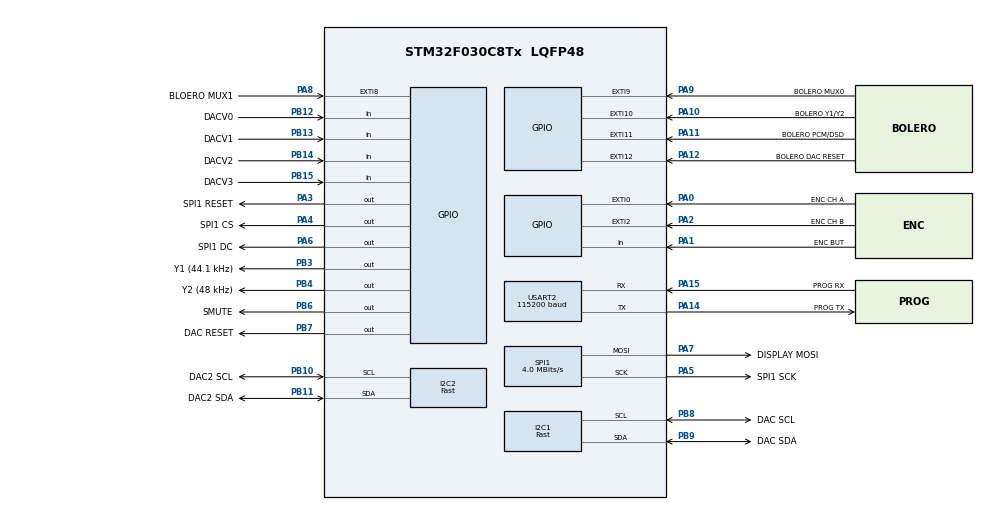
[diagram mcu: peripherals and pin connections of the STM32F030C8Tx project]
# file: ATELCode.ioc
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I2C1.I2C_Speed_Mode=I2C_Fast
I2C1.Timing=0x0000020B
I2C2.I2C_Speed_Mode=I2C_Fast
I2C2.Timing=0x0000020B
Mcu.Family=STM32F0
Mcu.Name=STM32F030C8Tx
Mcu.Package=LQFP48
NVIC.EXTI0_1_IRQn=true\:0\:0\:false\:false\:true\:true\:true
NVIC.EXTI2_3_IRQn=true\:0\:0\:false\:false\:true\:true\:true
NVIC.EXTI4_15_IRQn=true\:0\:0\:false\:false\:true\:true\:true
PA0.GPIO_Label=ENC CH A
PA0.Signal=GPXTI0
PA1.GPIO_Label=ENC BUT
PA1.GPIO_PuPd=GPIO_PULLDOWN
PA1.Signal=GPIO_Input
PA10.GPIO_Label=BOLERO Y1/Y2
PA10.GPIO_ModeDefaultEXTI=GPIO_MODE_IT_RISING_FALLING
PA10.GPIO_PuPd=GPIO_PULLDOWN
PA10.Signal=GPXTI10
PA11.GPIO_Label=BOLERO PCM/DSD
PA11.GPIO_ModeDefaultEXTI=GPIO_MODE_IT_RISING_FALLING
PA11.GPIO_PuPd=GPIO_PULLDOWN
PA11.Signal=GPXTI11
PA12.GPIO_Label=BOLERO DAC RESET
PA12.GPIO_ModeDefaultEXTI=GPIO_MODE_IT_RISING_FALLING
PA12.GPIO_PuPd=GPIO_PULLDOWN
PA12.Signal=GPXTI12
PA14.GPIO_Label=PROG TX
PA14.Mode=Asynchronous
PA14.Signal=USART2_TX
PA15.GPIO_Label=PROG RX
PA15.Mode=Asynchronous
PA15.Signal=USART2_RX
PA2.GPIO_Label=ENC CH B
PA2.Signal=GPXTI2
PA3.GPIO_Label=SPI1 RESET
PA3.GPIO_Speed=GPIO_SPEED_FREQ_HIGH
PA3.Signal=GPIO_Output
PA4.GPIO_Label=SPI1 CS
PA4.GPIO_Speed=GPIO_SPEED_FREQ_HIGH
PA4.Signal=GPIO_Output
PA5.GPIO_Label=SPI1 SCK
PA5.Mode=TX_Only_Simplex_Unidirect_Master
PA5.Signal=SPI1_SCK
PA6.GPIO_Label=SPI1 DC
PA6.GPIO_Speed=GPIO_SPEED_FREQ_HIGH
PA6.Signal=GPIO_Output
PA7.GPIO_Label=DISPLAY MOSI
PA7.Mode=TX_Only_Simplex_Unidirect_Master
PA7.Signal=SPI1_MOSI
PA8.GPIO_Label=BLOERO MUX1
PA8.GPIO_ModeDefaultEXTI=GPIO_MODE_IT_RISING_FALLING
PA8.GPIO_PuPd=GPIO_PULLDOWN
PA8.Signal=GPXTI8
PA9.GPIO_Label=BOLERO MUX0
PA9.GPIO_ModeDefaultEXTI=GPIO_MODE_IT_RISING_FALLING
PA9.GPIO_PuPd=GPIO_PULLDOWN
PA9.Signal=GPXTI9
PB10.GPIO_Label=DAC2 SCL
PB10.Mode=I2C
PB10.Signal=I2C2_SCL
PB11.GPIO_Label=DAC2 SDA
PB11.Mode=I2C
PB11.Signal=I2C2_SDA
PB12.GPIO_Label=DACV0
PB12.GPIO_PuPd=GPIO_PULLDOWN
PB12.Signal=GPIO_Input
PB13.GPIO_Label=DACV1
PB13.GPIO_PuPd=GPIO_PULLDOWN
PB13.Signal=GPIO_Input
PB14.GPIO_Label=DACV2
PB14.GPIO_PuPd=GPIO_PULLDOWN
PB14.Signal=GPIO_Input
PB15.GPIO_Label=DACV3
PB15.GPIO_PuPd=GPIO_PULLDOWN
PB15.Signal=GPIO_Input
PB3.GPIO_Label=Y1 (44.1 kHz)
PB3.GPIO_PuPd=GPIO_NOPULL
PB3.PinState=GPIO_PIN_SET
PB3.Signal=GPIO_Output
PB4.GPIO_Label=Y2 (48 kHz)
PB4.GPIO_PuPd=GPIO_NOPULL
PB4.PinState=GPIO_PIN_SET
PB4.Signal=GPIO_Output
PB6.GPIO_Label=SMUTE
PB6.GPIO_PuPd=GPIO_NOPULL
PB6.Signal=GPIO_Output
PB7.GPIO_Label=DAC RESET
PB7.GPIO_PuPd=GPIO_NOPULL
PB7.PinState=GPIO_PIN_RESET
PB7.Signal=GPIO_Output
PB8.GPIO_Label=DAC SCL
PB8.Mode=I2C
PB8.Signal=I2C1_SCL
PB9.GPIO_Label=DAC SDA
PB9.Mode=I2C
PB9.Signal=I2C1_SDA
ProjectManager.HeapSize=0x200
ProjectManager.StackSize=0x400
ProjectManager.TargetToolchain=STM32CubeIDE
SPI1.CLKPhase=SPI_PHASE_2EDGE
SPI1.CLKPolarity=SPI_POLARITY_HIGH
SPI1.CalculateBaudRate=4.0 MBits/s
SPI1.Direction=SPI_DIRECTION_2LINES
SPI1.Mode=SPI_MODE_MASTER
SPI1.VirtualType=VM_MASTER
USART2.BaudRate=115200
USART2.VirtualMode-Asynchronous=VM_ASYNC
board=custom

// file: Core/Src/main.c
/* USER CODE BEGIN Header */
/**
 ******************************************************************************
 * @file           : main.c
 * @brief          : Main program body
 ******************************************************************************
 * @attention
 *
 * <h2><center>&copy; Copyright (c) 2021 STMicroelectronics.
 * All rights reserved.</center></h2>
 *
 * This software component is licensed by ST under BSD 3-Clause license,
 * the "License"; You may not use this file except in compliance with the
 * License. You may obtain a copy of the License at:
 *                        opensource.org/licenses/BSD-3-Clause
 *
 ******************************************************************************
 */
/* USER CODE END Header */
#include "main.h"

/* USER CODE BEGIN PD */

#define AK4403EQ_FIRS_NUM 6

/* USER CODE END PD */

I2C_HandleTypeDef hi2c1;
I2C_HandleTypeDef hi2c2;

SPI_HandleTypeDef hspi1;

UART_HandleTypeDef huart2;

/* USER CODE BEGIN PV */

uint8_t volume;
uint32_t progtime;
uint8_t ak4493eq_fir;
uint8_t dsd1794a_fir;
uint8_t bd34301ekv_fir;
uint8_t cs43198_fir;
uint8_t ak4191eq_fir;

uint8_t tx_buf[256 * 64 / 2];

const char AK4493EQ_FIRS_NAMES[6][16]   = {"Sharp", "Slow", "SD Sharp", "SD Slow", "Super Slow", "Low Dispersion"};
const char DSD1794A_FIRS_NAMES[2][16]   = {"Sharp", "Slow"};
const char BD34301EKV_FIRS_NAMES[2][16] = {"Sharp", "Slow"};
const char CS43198_FIRS_NAMES[5][16]	= {"Sharp LowLatency", "Sharp Phase Comp", "Slow LowLatency", "Slow Phase Comp", "NOS"};

/* USER CODE END PV */

void SystemClock_Config(void);
static void MX_GPIO_Init(void);
static void MX_I2C1_Init(void);
static void MX_I2C2_Init(void);
static void MX_SPI1_Init(void);
static void MX_USART2_UART_Init(void);
/* USER CODE BEGIN PFP */
void Set_Clock(uint8_t clock);
/* USER CODE END PFP */

int main(void)
{
  /* USER CODE BEGIN 1 */
	volume = 0;
  /* USER CODE END 1 */

  /* MCU Configuration--------------------------------------------------------*/

  /* Reset of all peripherals, Initializes the Flash interface and the Systick. */
  HAL_Init();

  /* USER CODE BEGIN Init */

	SSD1322_API_init();
	set_buffer_size(256, 64);
	fill_buffer(tx_buf, 0);
	select_font(&FreeMono12pt7b);
	draw_text(tx_buf, "VOLUME:", 64, 38, 15);
	send_buffer_to_OLED(tx_buf, 0, 0);
	HAL_Delay(2000);

  /* USER CODE END Init */

  /* Configure the system clock */
  SystemClock_Config();

  /* Initialize all configured peripherals */
  MX_GPIO_Init();
  MX_I2C1_Init();
  MX_I2C2_Init();
  MX_SPI1_Init();
  MX_USART2_UART_Init();
  /* USER CODE BEGIN 2 */

	progtime = HAL_GetTick();
	Set_Clock(HAL_GPIO_ReadPin(GPIOA, GPIO_PIN_10));

	SystemClock_Config();

	uint8_t dacv = (HAL_GPIO_ReadPin(GPIOB, GPIO_PIN_12)) | (HAL_GPIO_ReadPin(GPIOB, GPIO_PIN_13) << 1) | (HAL_GPIO_ReadPin(GPIOB, GPIO_PIN_14) << 2) | (HAL_GPIO_ReadPin(GPIOB, GPIO_PIN_15) << 3);
	uint8_t frame[2], size = 2;
	uint8_t pcm_dsd = HAL_GPIO_ReadPin(GPIOA, GPIO_PIN_11);

	uint8_t boleroSampleSpeed = (HAL_GPIO_ReadPin(GPIOA, GPIO_PIN_9)) | (HAL_GPIO_ReadPin(GPIOA, GPIO_PIN_8) << 1);
	uint8_t dfs;

	if (pcm_dsd)
	{
		select_font(&FreeMono12pt7b);

		switch (boleroSampleSpeed)
		{
		case SS_48:
			dfs = 0x0;

			if (HAL_GPIO_ReadPin(GPIOA, GPIO_PIN_10) == C_44_1)
				draw_text(tx_buf, "PCM  44.1KHz", 64, 32, 15);
			else
				draw_text(tx_buf, "PCM    48KHz", 64, 20, 15);
			send_buffer_to_OLED(tx_buf, 0, 0);
			HAL_Delay(2000);

			break;
		case SS_96:
			dfs = 0x1;

			if (HAL_GPIO_ReadPin(GPIOA, GPIO_PIN_10) == C_44_1)
				draw_text(tx_buf, "PCM  88.2KHz", 64, 32, 15);
			else
				draw_text(tx_buf, "PCM    96KHz", 64, 20, 15);
			send_buffer_to_OLED(tx_buf, 0, 0);
			HAL_Delay(2000);

			break;
		case SS_192:
			dfs = 0x2;

			if (HAL_GPIO_ReadPin(GPIOA, GPIO_PIN_10) == C_44_1)
				draw_text(tx_buf, "PCM 176.4KHz", 64, 32, 15);
			else
				draw_text(tx_buf, "PCM   192KHz", 64, 20, 15);
			send_buffer_to_OLED(tx_buf, 0, 0);
			HAL_Delay(2000);

			break;
		case SS_384:
			dfs = 0x4;

			if (HAL_GPIO_ReadPin(GPIOA, GPIO_PIN_10) == C_44_1)
				draw_text(tx_buf, "PCM 352.8KHz", 64, 32, 15);
			else
				draw_text(tx_buf, "PCM   384KHz", 64, 20, 15);
			send_buffer_to_OLED(tx_buf, 0, 0);
			HAL_Delay(2000);

			break;
		}
	}
	else
	{
		dfs = boleroSampleSpeed;

		select_font(&FreeMono12pt7b);
		switch(boleroSampleSpeed)
		{
		case DSD_64:
			draw_text(tx_buf, "DSD 64", 64, 32, 15);
			break;
		case DSD_128:
			draw_text(tx_buf, "DSD 128", 64, 32, 15);
			break;
		case DSD_256:
			draw_text(tx_buf, "DSD 256", 64, 32, 15);
			break;
		case DSD_512:
			draw_text(tx_buf, "DSD 512", 64, 32, 15);
			break;
		}
		send_buffer_to_OLED(tx_buf, 0, 0);
		HAL_Delay(2000);
	}

	switch (dacv)
	{
	case AK4493EQ:  	// addrs: 0x10, 0x11
	select_font(&FreeSansOblique9pt7b);
	draw_text(tx_buf, "AK4493EQ", 9, 5, 15);
	send_buffer_to_OLED(tx_buf, 0, 0);
	HAL_Delay(2000);

	// Control 1 Reg: Reset
	frame[0] = 0x0; frame[1] = 0xE;
	HAL_I2C_Master_Transmit(&hi2c1, 0x10, frame, size, I2C_TIMEOUT);
	HAL_I2C_Master_Transmit(&hi2c2, 0x10, frame, size, I2C_TIMEOUT);

	// Control 2 Reg
	frame[0] = 0x1; frame[1] = 0x3 | ((dfs & 0x3) << 3);
	HAL_I2C_Master_Transmit(&hi2c1, 0x10, frame, size, I2C_TIMEOUT);
	HAL_I2C_Master_Transmit(&hi2c2, 0x10, frame, size, I2C_TIMEOUT);

	// Control 3 Reg
	frame[0] = 0x2; frame[1] = 0x9 | ((!pcm_dsd) << 7);
	HAL_I2C_Master_Transmit(&hi2c1, 0x10, frame, size, I2C_TIMEOUT);
	frame[1] = 0xB | ((!pcm_dsd) << 7);
	HAL_I2C_Master_Transmit(&hi2c2, 0x10, frame, size, I2C_TIMEOUT);

	// Control 4 Reg
	frame[0] = 0x5; frame[1] = ((dfs & 0x4) >> 1);
	HAL_I2C_Master_Transmit(&hi2c1, 0x10, frame, size, I2C_TIMEOUT);
	HAL_I2C_Master_Transmit(&hi2c2, 0x10, frame, size, I2C_TIMEOUT);

	// DSD1 Reg
	frame[0] = 0x6; frame[1] = 0x2 | (dfs & 0x1);
	HAL_I2C_Master_Transmit(&hi2c1, 0x10, frame, size, I2C_TIMEOUT);
	HAL_I2C_Master_Transmit(&hi2c2, 0x10, frame, size, I2C_TIMEOUT);

	// DSD2 Reg
	frame[0] = 0x9; frame[1] = dfs >> 1;
	HAL_I2C_Master_Transmit(&hi2c1, 0x10, frame, size, I2C_TIMEOUT);
	HAL_I2C_Master_Transmit(&hi2c2, 0x10, frame, size, I2C_TIMEOUT);

	// Control 2 Reg
	frame[0] = 0x1; frame[1] = 0x2 | ((dfs & 0x3) << 3);
	HAL_I2C_Master_Transmit(&hi2c1, 0x10, frame, size, I2C_TIMEOUT);
	HAL_I2C_Master_Transmit(&hi2c2, 0x10, frame, size, I2C_TIMEOUT);

	// Control 1 Reg: Release Reset
	frame[0] = 0x0; frame[1] = 0xF;
	HAL_I2C_Master_Transmit(&hi2c1, 0x10, frame, size, I2C_TIMEOUT);
	HAL_I2C_Master_Transmit(&hi2c2, 0x10, frame, size, I2C_TIMEOUT);

	break;
	case DSD1794A:  	// addrs: 0x4C, 0x4D
		select_font(&FreeSansOblique9pt7b);
		draw_text(tx_buf, "DSD1794A", 9, 5, 15);
		send_buffer_to_OLED(tx_buf, 0, 0);
		HAL_Delay(2000);

		// Set MUTE
		frame[0] = 0x18; frame[1] = 0x51;
		HAL_I2C_Master_Transmit(&hi2c1, 0x4C, frame, size, I2C_TIMEOUT);
		HAL_I2C_Master_Transmit(&hi2c2, 0x4C, frame, size, I2C_TIMEOUT);

		// OFF the DACs
		frame[0] = 0x19; frame[1] = 0x12;
		HAL_I2C_Master_Transmit(&hi2c1, 0x4C, frame, size, I2C_TIMEOUT);
		HAL_I2C_Master_Transmit(&hi2c2, 0x4C, frame, size, I2C_TIMEOUT);

		// Setting DUAL MONO, setting
		if (!dfs)
			dfs = 0x2;
		else
			if (dfs == 1)
				dfs = 0x0;
			else
				dfs = 0x1;
		frame[0] = 0x20; frame[1] = 0x8 | (!pcm_dsd << 5) | dfs;
		HAL_I2C_Master_Transmit(&hi2c1, 0x4C, frame, size, I2C_TIMEOUT);
		frame[1] = 0xC | (!pcm_dsd << 5) | dfs;
		HAL_I2C_Master_Transmit(&hi2c2, 0x4C, frame, size, I2C_TIMEOUT);

		// ON the DACs
		frame[0] = 0x19; frame[1] = 0x2;
		HAL_I2C_Master_Transmit(&hi2c1, 0x4C, frame, size, I2C_TIMEOUT);
		HAL_I2C_Master_Transmit(&hi2c2, 0x4C, frame, size, I2C_TIMEOUT);

		// Release MUTE
		frame[0] = 0x18; frame[1] = 0x50;
		HAL_I2C_Master_Transmit(&hi2c1, 0x4C, frame, size, I2C_TIMEOUT);
		HAL_I2C_Master_Transmit(&hi2c2, 0x4C, frame, size, I2C_TIMEOUT);

		break;
	case BD34301EKV:  // addrs: 0x38, 0x3A
		select_font(&FreeSansOblique9pt7b);
		draw_text(tx_buf, "BD34301EKV", 9, 5, 15);
		send_buffer_to_OLED(tx_buf, 0, 0);
		HAL_Delay(2000);

		// DSD ON/OFF
		frame[0] = 0x10; frame[1] = 0xB | (!pcm_dsd << 7);
		HAL_I2C_Master_Transmit(&hi2c1, 0x38, frame, size, I2C_TIMEOUT);
		HAL_I2C_Master_Transmit(&hi2c2, 0x38, frame, size, I2C_TIMEOUT);

		// DUAL MONO enabling
		frame[0] = 0x12; frame[1] = 0x2;
		HAL_I2C_Master_Transmit(&hi2c1, 0x38, frame, size, I2C_TIMEOUT);
		frame[1] = 0x3;
		HAL_I2C_Master_Transmit(&hi2c2, 0x38, frame, size, I2C_TIMEOUT);

		// DSD filter selecting
		if (!dfs)
			frame[1] = 0x2;
		else if (dfs == 1)
			frame[1] = 0x1;
		else
			frame[1] = 0x0;
		frame[0] = 0x16;
		HAL_I2C_Master_Transmit(&hi2c1, 0x38, frame, size, I2C_TIMEOUT);
		HAL_I2C_Master_Transmit(&hi2c2, 0x38, frame, size, I2C_TIMEOUT);

		// Sample Rate configuring
		dfs <<= 1;
		frame[0] = 0x30; frame[1] = 0x8;
		HAL_I2C_Master_Transmit(&hi2c1, 0x38, frame, size, I2C_TIMEOUT);
		HAL_I2C_Master_Transmit(&hi2c2, 0x38, frame, size, I2C_TIMEOUT);
		dfs >>= 1;

		switch (boleroSampleSpeed)
		{
		case SS_48:
			frame[1] = 0x3;
			break;
		case SS_96:
			frame[1] = 0x4;
			break;
		case SS_192:
			frame[1] = 0x5;
			break;
		case SS_384:
			frame[1] = 0x0;
			break;
		}
		frame[0] = 0x31;
		HAL_I2C_Master_Transmit(&hi2c1, 0x38, frame, size, I2C_TIMEOUT);
		HAL_I2C_Master_Transmit(&hi2c2, 0x38, frame, size, I2C_TIMEOUT);

		if (pcm_dsd)
			frame[1] = HAL_GPIO_ReadPin(GPIOA, GPIO_PIN_10) ? 0x11 : 0x10;
		else
			frame[1] = 0x2;
		frame[0] = 0x40;
		HAL_I2C_Master_Transmit(&hi2c1, 0x38, frame, size, I2C_TIMEOUT);
		HAL_I2C_Master_Transmit(&hi2c2, 0x38, frame, size, I2C_TIMEOUT);

		// Power ON Sequence
		frame[0] = 0x41; frame[1] = 0x0;
		HAL_I2C_Master_Transmit(&hi2c1, 0x38, frame, size, I2C_TIMEOUT);
		HAL_I2C_Master_Transmit(&hi2c2, 0x38, frame, size, I2C_TIMEOUT);

		frame[0] = 0x42; frame[1] = 0x34;
		HAL_I2C_Master_Transmit(&hi2c1, 0x38, frame, size, I2C_TIMEOUT);
		HAL_I2C_Master_Transmit(&hi2c2, 0x38, frame, size, I2C_TIMEOUT);

		frame[0] = 0x43; frame[1] = 0xB8;
		HAL_I2C_Master_Transmit(&hi2c1, 0x38, frame, size, I2C_TIMEOUT);
		HAL_I2C_Master_Transmit(&hi2c2, 0x38, frame, size, I2C_TIMEOUT);

		frame[0] = 0x48; frame[1] = 0x0D;
		HAL_I2C_Master_Transmit(&hi2c1, 0x38, frame, size, I2C_TIMEOUT);
		HAL_I2C_Master_Transmit(&hi2c2, 0x38, frame, size, I2C_TIMEOUT);

		// PCM / DSD configuring
		frame[0] = 0x60;
		frame[1] = pcm_dsd ? 0x16 : 0x9E;
		HAL_I2C_Master_Transmit(&hi2c1, 0x38, frame, size, I2C_TIMEOUT);
		HAL_I2C_Master_Transmit(&hi2c2, 0x38, frame, size, I2C_TIMEOUT);

		frame[0] = 0x61;
		frame[1] = pcm_dsd ? 0x16 : 0x1E;
		HAL_I2C_Master_Transmit(&hi2c1, 0x38, frame, size, I2C_TIMEOUT);
		HAL_I2C_Master_Transmit(&hi2c2, 0x38, frame, size, I2C_TIMEOUT);

		// Software Reset OFF
		frame[0] = 0x0; frame[1] = 0x1;
		HAL_I2C_Master_Transmit(&hi2c1, 0x38, frame, size, I2C_TIMEOUT);
		HAL_I2C_Master_Transmit(&hi2c2, 0x38, frame, size, I2C_TIMEOUT);

		// Digital Power ON
		frame[0] = 0x2; frame[1] = 0x1;
		HAL_I2C_Master_Transmit(&hi2c1, 0x38, frame, size, I2C_TIMEOUT);
		HAL_I2C_Master_Transmit(&hi2c2, 0x38, frame, size, I2C_TIMEOUT);

		// Pop Noise Prevention
		frame[0] = 0xD0; frame[1] = 0x6A;
		HAL_I2C_Master_Transmit(&hi2c1, 0x38, frame, size, I2C_TIMEOUT);
		HAL_I2C_Master_Transmit(&hi2c2, 0x38, frame, size, I2C_TIMEOUT);

		frame[0] = 0xD3; frame[1] = 0x10;
		HAL_I2C_Master_Transmit(&hi2c1, 0x38, frame, size, I2C_TIMEOUT);
		HAL_I2C_Master_Transmit(&hi2c2, 0x38, frame, size, I2C_TIMEOUT);

		frame[0] = 0xD3; frame[1] = 0x0;
		HAL_I2C_Master_Transmit(&hi2c1, 0x38, frame, size, I2C_TIMEOUT);
		HAL_I2C_Master_Transmit(&hi2c2, 0x38, frame, size, I2C_TIMEOUT);

		frame[0] = 0xD0; frame[1] = 0x0;
		HAL_I2C_Master_Transmit(&hi2c1, 0x38, frame, size, I2C_TIMEOUT);
		HAL_I2C_Master_Transmit(&hi2c2, 0x38, frame, size, I2C_TIMEOUT);

		// Analog Power On
		frame[0] = 0x3; frame[1] = 0x1;
		HAL_I2C_Master_Transmit(&hi2c1, 0x38, frame, size, I2C_TIMEOUT);
		HAL_I2C_Master_Transmit(&hi2c2, 0x38, frame, size, I2C_TIMEOUT);

		// RAM clear ON
		frame[0] = 0x2F; frame[1] = 0x80;
		HAL_I2C_Master_Transmit(&hi2c1, 0x38, frame, size, I2C_TIMEOUT);
		HAL_I2C_Master_Transmit(&hi2c2, 0x38, frame, size, I2C_TIMEOUT);

		// RAM clear release
		frame[0] = 0x2F; frame[1] = 0x0;
		HAL_I2C_Master_Transmit(&hi2c1, 0x38, frame, size, I2C_TIMEOUT);
		HAL_I2C_Master_Transmit(&hi2c2, 0x38, frame, size, I2C_TIMEOUT);

		// MUTE release
		frame[0] = 0x2A; frame[1] = 0x3;
		HAL_I2C_Master_Transmit(&hi2c1, 0x38, frame, size, I2C_TIMEOUT);
		HAL_I2C_Master_Transmit(&hi2c2, 0x38, frame, size, I2C_TIMEOUT);

		break;
	case AK4499EX:
		select_font(&FreeSansOblique9pt7b);
		draw_text(tx_buf, "AK4499EX", 9, 5, 15);
		send_buffer_to_OLED(tx_buf, 0, 0);
		HAL_Delay(2000);

		// Control 1 Reg: Reset
		frame[0] = 0x0; frame[1] = 0xE;
		HAL_I2C_Master_Transmit(&hi2c1, 0x20, frame, size, I2C_TIMEOUT);
		HAL_I2C_Master_Transmit(&hi2c2, 0x20, frame, size, I2C_TIMEOUT);

		// Control 2 Reg: filters
		frame[0] = 0x1; frame[1] = 0x3;
		HAL_I2C_Master_Transmit(&hi2c1, 0x20, frame, size, I2C_TIMEOUT);
		HAL_I2C_Master_Transmit(&hi2c2, 0x20, frame, size, I2C_TIMEOUT);

		// Control 3 Reg: DSD/PCM
		frame[0] = 0x2; frame[1] = (!pcm_dsd) << 7;
		HAL_I2C_Master_Transmit(&hi2c1, 0x20, frame, size, I2C_TIMEOUT);
		HAL_I2C_Master_Transmit(&hi2c2, 0x20, frame, size, I2C_TIMEOUT);

		// Control 4 Reg: Sample Speed
		frame[0] = 0x5; frame[1] = dfs << 1;
		HAL_I2C_Master_Transmit(&hi2c1, 0x20, frame, size, I2C_TIMEOUT);
		HAL_I2C_Master_Transmit(&hi2c2, 0x20, frame, size, I2C_TIMEOUT);

		// DSD1 Reg: DSD Sample SPeed
		frame[0] = 0x6; frame[1] = 0x8 | dfs;
		HAL_I2C_Master_Transmit(&hi2c1, 0x20, frame, size, I2C_TIMEOUT);
		HAL_I2C_Master_Transmit(&hi2c2, 0x20, frame, size, I2C_TIMEOUT);

		// Control 5 Reg: SYNCE disabling
		frame[0] = 0x7; frame[1] = 0x0;
		HAL_I2C_Master_Transmit(&hi2c1, 0x20, frame, size, I2C_TIMEOUT);
		HAL_I2C_Master_Transmit(&hi2c2, 0x20, frame, size, I2C_TIMEOUT);

		// Control 6 Reg: Clock configuring
		frame[0] = 0x8; frame[1] = 0x4;
		HAL_I2C_Master_Transmit(&hi2c1, 0x20, frame, size, I2C_TIMEOUT);
		HAL_I2C_Master_Transmit(&hi2c2, 0x20, frame, size, I2C_TIMEOUT);

		// DSD2 Reg: DSD input path configuring
		frame[0] = 0x9; frame[1] = 0x1;
		HAL_I2C_Master_Transmit(&hi2c1, 0x20, frame, size, I2C_TIMEOUT);
		HAL_I2C_Master_Transmit(&hi2c2, 0x20, frame, size, I2C_TIMEOUT);

		// DSMI/O Reg: OSR setting
		frame[0] = 0xC; frame[1] = 0x81;
		HAL_I2C_Master_Transmit(&hi2c1, 0x20, frame, size, I2C_TIMEOUT);
		HAL_I2C_Master_Transmit(&hi2c2, 0x20, frame, size, I2C_TIMEOUT);

		// Control 2 Reg: filters
		frame[0] = 0x1; frame[1] = 0x2;
		HAL_I2C_Master_Transmit(&hi2c1, 0x20, frame, size, I2C_TIMEOUT);
		HAL_I2C_Master_Transmit(&hi2c2, 0x20, frame, size, I2C_TIMEOUT);

		// Control 1 Reg: Reset
		frame[0] = 0x0; frame[1] = 0xF;
		HAL_I2C_Master_Transmit(&hi2c1, 0x20, frame, size, I2C_TIMEOUT);
		HAL_I2C_Master_Transmit(&hi2c2, 0x20, frame, size, I2C_TIMEOUT);

		break;
	case CS43198:
		select_font(&FreeSansOblique9pt7b);
		draw_text(tx_buf, "CS43198", 9, 5, 15);
		send_buffer_to_OLED(tx_buf, 0, 0);
		HAL_Delay(2000);

		uint8_t *cs_frame[5];
		const uint8_t cs_size = 5;

		// 1. Apply all relevant power supplies, then assert RESET
		// 2. Wait for 1.5 ms
		// 3. Configure XTAL driver

		// 4. Configure XTAL bias current strength (assuming River Crystal at 22.5792 MHz)
		frame[0] = 0x2; frame[1] = 0x00; frame[2] = 0x52;
		frame[3] = 0x0;
		frame[4] = 0x4;
		HAL_I2C_Master_Transmit(&hi2c1, 0x30, cs_frame, cs_size);
		HAL_I2C_Master_Transmit(&hi2c1, 0x31, cs_frame, cs_size);
		HAL_I2C_Master_Transmit(&hi2c2, 0x30, cs_frame, cs_size);
		HAL_I2C_Master_Transmit(&hi2c2, 0x31, cs_frame, cs_size);

		// 7. Start XTAL
		frame[0] = 0x2; frame[1] = 0x00; frame[2] = 0x00;
		frame[3] = 0x0;
		frame[4] = 0xF6;
		HAL_I2C_Master_Transmit(&hi2c1, 0x30, cs_frame, cs_size);
		HAL_I2C_Master_Transmit(&hi2c1, 0x31, cs_frame, cs_size);
		HAL_I2C_Master_Transmit(&hi2c2, 0x30, cs_frame, cs_size);
		HAL_I2C_Master_Transmit(&hi2c2, 0x31, cs_frame, cs_size);

		// 9. Set ASP sample rate
		frame[0] = 0x1; frame[1] = 0x00; frame[2] = 0x0B;
		frame[3] = 0x0;
		switch (boleroSampleSpeed)
		{
		case SS_48:
			frame[4] = HAL_GPIO_ReadPin(GPIOA, GPIO_PIN_10) == C_44_1 ? 0x1 : 0x2;
			break;
		case SS_96:
			frame[4] = HAL_GPIO_ReadPin(GPIOA, GPIO_PIN_10) == C_44_1 ? 0x3 : 0x4;
			break;
		case SS_192:
			frame[4] = HAL_GPIO_ReadPin(GPIOA, GPIO_PIN_10) == C_44_1 ? 0x5 : 0x6;
			break;
		case SS_384:
			frame[4] = HAL_GPIO_ReadPin(GPIOA, GPIO_PIN_10) == C_44_1 ? 0x7 : 0x8;
			break;
		}
		HAL_I2C_Master_Transmit(&hi2c1, 0x30, cs_frame, cs_size);
		HAL_I2C_Master_Transmit(&hi2c1, 0x31, cs_frame, cs_size);
		HAL_I2C_Master_Transmit(&hi2c2, 0x30, cs_frame, cs_size);
		HAL_I2C_Master_Transmit(&hi2c2, 0x31, cs_frame, cs_size);

		// 10. Set ASP sample bit size. XSP is don't care
		frame[0] = 0x1; frame[1] = 0x00; frame[2] = 0x0C;
		frame[3] = 0x0;
		frame[4] = 0x00;
		HAL_I2C_Master_Transmit(&hi2c1, 0x30, cs_frame, cs_size);
		HAL_I2C_Master_Transmit(&hi2c1, 0x31, cs_frame, cs_size);
		HAL_I2C_Master_Transmit(&hi2c2, 0x30, cs_frame, cs_size);
		HAL_I2C_Master_Transmit(&hi2c2, 0x31, cs_frame, cs_size);

		// 18. Set ASP channel size and	enable. Set both Channel 1 and Channel 2 to the same active phase to get the same data for mono mode
		frame[0] = 0x5; frame[1] = 0x00; frame[2] = 0x0A;
		frame[3] = 0x0;
		frame[4] = 0x07;
		HAL_I2C_Master_Transmit(&hi2c1, 0x30, cs_frame, cs_size);
		HAL_I2C_Master_Transmit(&hi2c1, 0x31, cs_frame, cs_size);
		HAL_I2C_Master_Transmit(&hi2c2, 0x30, cs_frame, cs_size);
		HAL_I2C_Master_Transmit(&hi2c2, 0x31, cs_frame, cs_size);

		frame[0] = 0x5; frame[1] = 0x00; frame[2] = 0x0B;
		frame[3] = 0x0;
		frame[4] = 0x0F;
		HAL_I2C_Master_Transmit(&hi2c1, 0x30, cs_frame, cs_size);
		HAL_I2C_Master_Transmit(&hi2c1, 0x31, cs_frame, cs_size);
		HAL_I2C_Master_Transmit(&hi2c2, 0x30, cs_frame, cs_size);
		HAL_I2C_Master_Transmit(&hi2c2, 0x31, cs_frame, cs_size);

		// 20. Set volume for channels
		frame[0] = 0x9; frame[1] = 0x00; frame[2] = 0x01;
		frame[3] = 0x0;
		frame[4] = 0x00;
		HAL_I2C_Master_Transmit(&hi2c1, 0x30, cs_frame, cs_size);
		HAL_I2C_Master_Transmit(&hi2c1, 0x31, cs_frame, cs_size);
		HAL_I2C_Master_Transmit(&hi2c2, 0x30, cs_frame, cs_size);
		HAL_I2C_Master_Transmit(&hi2c2, 0x31, cs_frame, cs_size);

		frame[0] = 0x9; frame[1] = 0x00; frame[2] = 0x02;
		frame[3] = 0x0;
		frame[4] = 0x00;
		HAL_I2C_Master_Transmit(&hi2c1, 0x30, cs_frame, cs_size);
		HAL_I2C_Master_Transmit(&hi2c1, 0x31, cs_frame, cs_size);
		HAL_I2C_Master_Transmit(&hi2c2, 0x30, cs_frame, cs_size);
		HAL_I2C_Master_Transmit(&hi2c2, 0x31, cs_frame, cs_size);

		// 23. Configure PCM path signal control
		frame[0] = 0x9; frame[1] = 0x00; frame[2] = 0x03;
		frame[3] = 0x0;
		frame[4] = 0x0E;
		HAL_I2C_Master_Transmit(&hi2c1, 0x30, cs_frame, cs_size);
		HAL_I2C_Master_Transmit(&hi2c1, 0x31, cs_frame, cs_size);
		HAL_I2C_Master_Transmit(&hi2c2, 0x30, cs_frame, cs_size);
		HAL_I2C_Master_Transmit(&hi2c2, 0x31, cs_frame, cs_size);

		frame[0] = 0x9; frame[1] = 0x00; frame[2] = 0x04;
		frame[3] = 0x0;
		frame[4] = 0x00;
		HAL_I2C_Master_Transmit(&hi2c1, 0x30, cs_frame, cs_size);
		HAL_I2C_Master_Transmit(&hi2c1, 0x31, cs_frame, cs_size);
		HAL_I2C_Master_Transmit(&hi2c2, 0x30, cs_frame, cs_size);
		HAL_I2C_Master_Transmit(&hi2c2, 0x31, cs_frame, cs_size);

		// 24. DSD IF
		// Volume 0 bB
		frame[0] = 0x7; frame[1] = 0x00; frame[2] = 0x00;
		frame[3] = 0x0;
		frame[4] = 0x00;
		HAL_I2C_Master_Transmit(&hi2c1, 0x30, cs_frame, cs_size);
		HAL_I2C_Master_Transmit(&hi2c1, 0x31, cs_frame, cs_size);
		HAL_I2C_Master_Transmit(&hi2c2, 0x30, cs_frame, cs_size);
		HAL_I2C_Master_Transmit(&hi2c2, 0x31, cs_frame, cs_size);

		frame[0] = 0x7; frame[1] = 0x00; frame[2] = 0x01;
		frame[3] = 0x0;
		frame[4] = 0x00;
		HAL_I2C_Master_Transmit(&hi2c1, 0x30, cs_frame, cs_size);
		HAL_I2C_Master_Transmit(&hi2c1, 0x31, cs_frame, cs_size);
		HAL_I2C_Master_Transmit(&hi2c2, 0x30, cs_frame, cs_size);
		HAL_I2C_Master_Transmit(&hi2c2, 0x31, cs_frame, cs_size);

		// Configure DSD path Signal Control 1
		frame[0] = 0x7; frame[1] = 0x00; frame[2] = 0x02;
		frame[3] = 0x0;
		frame[4] = 0xCC;
		HAL_I2C_Master_Transmit(&hi2c1, 0x30, cs_frame, cs_size);
		HAL_I2C_Master_Transmit(&hi2c1, 0x31, cs_frame, cs_size);
		HAL_I2C_Master_Transmit(&hi2c2, 0x30, cs_frame, cs_size);
		HAL_I2C_Master_Transmit(&hi2c2, 0x31, cs_frame, cs_size);

		// Configure DSD path Signal Control 2
		frame[0] = 0x7; frame[1] = 0x00; frame[2] = 0x04;
		frame[3] = 0x0;
		switch (boleroSampleSpeed)
		{
		case DSD_64:
			frame[4] = 0x82;
			break;
		case DSD_128:
			frame[4] = 0x86;
			break;
		case DSD_256:
			frame[4] = 0x0A;
			break;
		case DSD_512:
			break;
		}
		frame[4] |= !pcm_dsd << 0x4;
		HAL_I2C_Master_Transmit(&hi2c1, 0x30, cs_frame, cs_size);
		HAL_I2C_Master_Transmit(&hi2c1, 0x31, cs_frame, cs_size);
		HAL_I2C_Master_Transmit(&hi2c2, 0x30, cs_frame, cs_size);
		HAL_I2C_Master_Transmit(&hi2c2, 0x31, cs_frame, cs_size);

		// Configure DSD path Signal Control 3
		frame[0] = 0x7; frame[1] = 0x00; frame[2] = 0x06;
		frame[3] = 0x0;
		frame[4] = 0xC1;
		HAL_I2C_Master_Transmit(&hi2c1, 0x30, cs_frame, cs_size);
		HAL_I2C_Master_Transmit(&hi2c1, 0x31, cs_frame, cs_size);
		HAL_I2C_Master_Transmit(&hi2c2, 0x30, cs_frame, cs_size);
		HAL_I2C_Master_Transmit(&hi2c2, 0x31, cs_frame, cs_size);

		// Direct DSD Path Signal Control
		frame[0] = 0x7; frame[1] = 0x00; frame[2] = 0x07;
		frame[3] = 0x0;
		frame[4] = 0x4;
		HAL_I2C_Master_Transmit(&hi2c1, 0x30, cs_frame, cs_size);
		HAL_I2C_Master_Transmit(&hi2c1, 0x31, cs_frame, cs_size);
		HAL_I2C_Master_Transmit(&hi2c2, 0x30, cs_frame, cs_size);
		HAL_I2C_Master_Transmit(&hi2c2, 0x31, cs_frame, cs_size);

		// 25. Configure Class H amplifier
		frame[0] = 0xB; frame[1] = 0x00; frame[2] = 0x00;
		frame[3] = 0x0;
		frame[4] = 0x09;
		HAL_I2C_Master_Transmit(&hi2c1, 0x30, cs_frame, cs_size);
		HAL_I2C_Master_Transmit(&hi2c1, 0x31, cs_frame, cs_size);
		HAL_I2C_Master_Transmit(&hi2c2, 0x30, cs_frame, cs_size);
		HAL_I2C_Master_Transmit(&hi2c2, 0x31, cs_frame, cs_size);

		// 26. Set DAC output to full scale
		frame[0] = 0x8; frame[1] = 0x00; frame[2] = 0x00;
		frame[3] = 0x0;
		frame[4] = 0x20;
		HAL_I2C_Master_Transmit(&hi2c1, 0x30, cs_frame, cs_size);
		HAL_I2C_Master_Transmit(&hi2c1, 0x31, cs_frame, cs_size);
		HAL_I2C_Master_Transmit(&hi2c2, 0x30, cs_frame, cs_size);
		HAL_I2C_Master_Transmit(&hi2c2, 0x31, cs_frame, cs_size);

		// 34. Switch MCLK source to XTAL
		frame[0] = 0x1; frame[1] = 0x00; frame[2] = 0x06;
		frame[3] = 0x0;
		frame[4] = (HAL_GPIO_ReadPin(GPIOA, GPIO_PIN_10) == C_44_1 ? 0x1 : 0x0) << 2;
		HAL_I2C_Master_Transmit(&hi2c1, 0x30, cs_frame, cs_size);
		HAL_I2C_Master_Transmit(&hi2c1, 0x31, cs_frame, cs_size);
		HAL_I2C_Master_Transmit(&hi2c2, 0x30, cs_frame, cs_size);
		HAL_I2C_Master_Transmit(&hi2c2, 0x31, cs_frame, cs_size);

		// 35. Wait at least 150 μs.
		HAL_Delay(1);

		// 37. Enable mono mode
		frame[0] = 0x18; frame[1] = 0x00; frame[2] = 0x09;
		frame[3] = 0x0;
		frame[4] = 0x2F;
		HAL_I2C_Master_Transmit(&hi2c1, 0x30, cs_frame, cs_size);
		HAL_I2C_Master_Transmit(&hi2c1, 0x31, cs_frame, cs_size);
		HAL_I2C_Master_Transmit(&hi2c2, 0x30, cs_frame, cs_size);
		HAL_I2C_Master_Transmit(&hi2c2, 0x31, cs_frame, cs_size);

		frame[0] = 0x18; frame[1] = 0x00; frame[2] = 0x0A;
		frame[3] = 0x0;
		frame[4] = 0xB4;
		HAL_I2C_Master_Transmit(&hi2c1, 0x30, cs_frame, cs_size);
		HAL_I2C_Master_Transmit(&hi2c1, 0x31, cs_frame, cs_size);
		HAL_I2C_Master_Transmit(&hi2c2, 0x30, cs_frame, cs_size);
		HAL_I2C_Master_Transmit(&hi2c2, 0x31, cs_frame, cs_size);

		frame[0] = 0x18; frame[1] = 0x00; frame[2] = 0x0B;
		frame[3] = 0x0;
		frame[4] = 0x25;
		HAL_I2C_Master_Transmit(&hi2c1, 0x30, cs_frame, cs_size);
		HAL_I2C_Master_Transmit(&hi2c1, 0x31, cs_frame, cs_size);
		HAL_I2C_Master_Transmit(&hi2c2, 0x30, cs_frame, cs_size);
		HAL_I2C_Master_Transmit(&hi2c2, 0x31, cs_frame, cs_size);

		frame[0] = 0x18; frame[1] = 0x00; frame[2] = 0x0C;
		frame[3] = 0x0;
		frame[4] = 0x80;
		HAL_I2C_Master_Transmit(&hi2c1, 0x30, cs_frame, cs_size);
		HAL_I2C_Master_Transmit(&hi2c1, 0x31, cs_frame, cs_size);
		HAL_I2C_Master_Transmit(&hi2c2, 0x30, cs_frame, cs_size);
		HAL_I2C_Master_Transmit(&hi2c2, 0x31, cs_frame, cs_size);

		frame[0] = 0x18; frame[1] = 0x00; frame[2] = 0x0F;
		frame[3] = 0x0;
		frame[4] = 0x09;
		HAL_I2C_Master_Transmit(&hi2c1, 0x30, cs_frame, cs_size);
		HAL_I2C_Master_Transmit(&hi2c1, 0x31, cs_frame, cs_size);
		HAL_I2C_Master_Transmit(&hi2c2, 0x30, cs_frame, cs_size);
		HAL_I2C_Master_Transmit(&hi2c2, 0x31, cs_frame, cs_size);

		frame[0] = 0x18; frame[1] = 0x00; frame[2] = 0x10;
		frame[3] = 0x0;
		frame[4] = 0xFB;
		HAL_I2C_Master_Transmit(&hi2c1, 0x30, cs_frame, cs_size);
		HAL_I2C_Master_Transmit(&hi2c1, 0x31, cs_frame, cs_size);
		HAL_I2C_Master_Transmit(&hi2c2, 0x30, cs_frame, cs_size);
		HAL_I2C_Master_Transmit(&hi2c2, 0x31, cs_frame, cs_size);

		frame[0] = 0x18; frame[1] = 0x00; frame[2] = 0x19;
		frame[3] = 0x0;
		frame[4] = 0x2F;
		HAL_I2C_Master_Transmit(&hi2c1, 0x30, cs_frame, cs_size);
		HAL_I2C_Master_Transmit(&hi2c1, 0x31, cs_frame, cs_size);
		HAL_I2C_Master_Transmit(&hi2c2, 0x30, cs_frame, cs_size);
		HAL_I2C_Master_Transmit(&hi2c2, 0x31, cs_frame, cs_size);

		frame[0] = 0x18; frame[1] = 0x00; frame[2] = 0x1A;
		frame[3] = 0x0;
		frame[4] = 0xB4;
		HAL_I2C_Master_Transmit(&hi2c1, 0x30, cs_frame, cs_size);
		HAL_I2C_Master_Transmit(&hi2c1, 0x31, cs_frame, cs_size);
		HAL_I2C_Master_Transmit(&hi2c2, 0x30, cs_frame, cs_size);
		HAL_I2C_Master_Transmit(&hi2c2, 0x31, cs_frame, cs_size);

		frame[0] = 0x18; frame[1] = 0x00; frame[2] = 0x1B;
		frame[3] = 0x0;
		frame[4] = 0x25;
		HAL_I2C_Master_Transmit(&hi2c1, 0x30, cs_frame, cs_size);
		HAL_I2C_Master_Transmit(&hi2c1, 0x31, cs_frame, cs_size);
		HAL_I2C_Master_Transmit(&hi2c2, 0x30, cs_frame, cs_size);
		HAL_I2C_Master_Transmit(&hi2c2, 0x31, cs_frame, cs_size);

		frame[0] = 0x18; frame[1] = 0x00; frame[2] = 0x1C;
		frame[3] = 0x0;
		frame[4] = 0x80;
		HAL_I2C_Master_Transmit(&hi2c1, 0x30, cs_frame, cs_size);
		HAL_I2C_Master_Transmit(&hi2c1, 0x31, cs_frame, cs_size);
		HAL_I2C_Master_Transmit(&hi2c2, 0x30, cs_frame, cs_size);
		HAL_I2C_Master_Transmit(&hi2c2, 0x31, cs_frame, cs_size);

		frame[0] = 0x18; frame[1] = 0x00; frame[2] = 0x1F;
		frame[3] = 0x0;
		frame[4] = 0x93;
		HAL_I2C_Master_Transmit(&hi2c1, 0x30, cs_frame, cs_size);
		HAL_I2C_Master_Transmit(&hi2c1, 0x31, cs_frame, cs_size);
		HAL_I2C_Master_Transmit(&hi2c2, 0x30, cs_frame, cs_size);
		HAL_I2C_Master_Transmit(&hi2c2, 0x31, cs_frame, cs_size);

		frame[0] = 0x18; frame[1] = 0x00; frame[2] = 0x20;
		frame[3] = 0x0;
		frame[4] = 0xFD;
		HAL_I2C_Master_Transmit(&hi2c1, 0x30, cs_frame, cs_size);
		HAL_I2C_Master_Transmit(&hi2c1, 0x31, cs_frame, cs_size);
		HAL_I2C_Master_Transmit(&hi2c2, 0x30, cs_frame, cs_size);
		HAL_I2C_Master_Transmit(&hi2c2, 0x31, cs_frame, cs_size);

		frame[0] = 0x18; frame[1] = 0x00; frame[2] = 0x29;
		frame[3] = 0x0;
		frame[4] = 0x2F;
		HAL_I2C_Master_Transmit(&hi2c1, 0x30, cs_frame, cs_size);
		HAL_I2C_Master_Transmit(&hi2c1, 0x31, cs_frame, cs_size);
		HAL_I2C_Master_Transmit(&hi2c2, 0x30, cs_frame, cs_size);
		HAL_I2C_Master_Transmit(&hi2c2, 0x31, cs_frame, cs_size);

		frame[0] = 0x18; frame[1] = 0x00; frame[2] = 0x2A;
		frame[3] = 0x0;
		frame[4] = 0xB4;
		HAL_I2C_Master_Transmit(&hi2c1, 0x30, cs_frame, cs_size);
		HAL_I2C_Master_Transmit(&hi2c1, 0x31, cs_frame, cs_size);
		HAL_I2C_Master_Transmit(&hi2c2, 0x30, cs_frame, cs_size);
		HAL_I2C_Master_Transmit(&hi2c2, 0x31, cs_frame, cs_size);

		frame[0] = 0x18; frame[1] = 0x00; frame[2] = 0x2B;
		frame[3] = 0x0;
		frame[4] = 0x25;
		HAL_I2C_Master_Transmit(&hi2c1, 0x30, cs_frame, cs_size);
		HAL_I2C_Master_Transmit(&hi2c1, 0x31, cs_frame, cs_size);
		HAL_I2C_Master_Transmit(&hi2c2, 0x30, cs_frame, cs_size);
		HAL_I2C_Master_Transmit(&hi2c2, 0x31, cs_frame, cs_size);

		frame[0] = 0x18; frame[1] = 0x00; frame[2] = 0x2C;
		frame[3] = 0x0;
		frame[4] = 0x80;
		HAL_I2C_Master_Transmit(&hi2c1, 0x30, cs_frame, cs_size);
		HAL_I2C_Master_Transmit(&hi2c1, 0x31, cs_frame, cs_size);
		HAL_I2C_Master_Transmit(&hi2c2, 0x30, cs_frame, cs_size);
		HAL_I2C_Master_Transmit(&hi2c2, 0x31, cs_frame, cs_size);

		frame[0] = 0x18; frame[1] = 0x00; frame[2] = 0x2F;
		frame[3] = 0x0;
		frame[4] = 0x7C;
		HAL_I2C_Master_Transmit(&hi2c1, 0x30, cs_frame, cs_size);
		HAL_I2C_Master_Transmit(&hi2c1, 0x31, cs_frame, cs_size);
		HAL_I2C_Master_Transmit(&hi2c2, 0x30, cs_frame, cs_size);
		HAL_I2C_Master_Transmit(&hi2c2, 0x31, cs_frame, cs_size);

		frame[0] = 0x18; frame[1] = 0x00; frame[2] = 0x30;
		frame[3] = 0x0;
		frame[4] = 0xFD;
		HAL_I2C_Master_Transmit(&hi2c1, 0x30, cs_frame, cs_size);
		HAL_I2C_Master_Transmit(&hi2c1, 0x31, cs_frame, cs_size);
		HAL_I2C_Master_Transmit(&hi2c2, 0x30, cs_frame, cs_size);
		HAL_I2C_Master_Transmit(&hi2c2, 0x31, cs_frame, cs_size);

		frame[0] = 0x18; frame[1] = 0x00; frame[2] = 0x39;
		frame[3] = 0x0;
		frame[4] = 0x2F;
		HAL_I2C_Master_Transmit(&hi2c1, 0x30, cs_frame, cs_size);
		HAL_I2C_Master_Transmit(&hi2c1, 0x31, cs_frame, cs_size);
		HAL_I2C_Master_Transmit(&hi2c2, 0x30, cs_frame, cs_size);
		HAL_I2C_Master_Transmit(&hi2c2, 0x31, cs_frame, cs_size);

		frame[0] = 0x18; frame[1] = 0x00; frame[2] = 0x3A;
		frame[3] = 0x0;
		frame[4] = 0xB4;
		HAL_I2C_Master_Transmit(&hi2c1, 0x30, cs_frame, cs_size);
		HAL_I2C_Master_Transmit(&hi2c1, 0x31, cs_frame, cs_size);
		HAL_I2C_Master_Transmit(&hi2c2, 0x30, cs_frame, cs_size);
		HAL_I2C_Master_Transmit(&hi2c2, 0x31, cs_frame, cs_size);

		frame[0] = 0x18; frame[1] = 0x00; frame[2] = 0x3B;
		frame[3] = 0x0;
		frame[4] = 0x25;
		HAL_I2C_Master_Transmit(&hi2c1, 0x30, cs_frame, cs_size);
		HAL_I2C_Master_Transmit(&hi2c1, 0x31, cs_frame, cs_size);
		HAL_I2C_Master_Transmit(&hi2c2, 0x30, cs_frame, cs_size);
		HAL_I2C_Master_Transmit(&hi2c2, 0x31, cs_frame, cs_size);

		frame[0] = 0x18; frame[1] = 0x00; frame[2] = 0x3C;
		frame[3] = 0x0;
		frame[4] = 0x80;
		HAL_I2C_Master_Transmit(&hi2c1, 0x30, cs_frame, cs_size);
		HAL_I2C_Master_Transmit(&hi2c1, 0x31, cs_frame, cs_size);
		HAL_I2C_Master_Transmit(&hi2c2, 0x30, cs_frame, cs_size);
		HAL_I2C_Master_Transmit(&hi2c2, 0x31, cs_frame, cs_size);

		frame[0] = 0x18; frame[1] = 0x00; frame[2] = 0x3F;
		frame[3] = 0x0;
		frame[4] = 0x41;
		HAL_I2C_Master_Transmit(&hi2c1, 0x30, cs_frame, cs_size);
		HAL_I2C_Master_Transmit(&hi2c1, 0x31, cs_frame, cs_size);
		HAL_I2C_Master_Transmit(&hi2c2, 0x30, cs_frame, cs_size);
		HAL_I2C_Master_Transmit(&hi2c2, 0x31, cs_frame, cs_size);

		frame[0] = 0x18; frame[1] = 0x00; frame[2] = 0x40;
		frame[3] = 0x0;
		frame[4] = 0xFE;
		HAL_I2C_Master_Transmit(&hi2c1, 0x30, cs_frame, cs_size);
		HAL_I2C_Master_Transmit(&hi2c1, 0x31, cs_frame, cs_size);
		HAL_I2C_Master_Transmit(&hi2c2, 0x30, cs_frame, cs_size);
		HAL_I2C_Master_Transmit(&hi2c2, 0x31, cs_frame, cs_size);

		// 38. Power up DAC
		frame[0] = 0x1; frame[1] = 0x00; frame[2] = 0x10;
		frame[3] = 0x0;
		frame[4] = 0x99;
		HAL_I2C_Master_Transmit(&hi2c1, 0x30, cs_frame, cs_size);
		HAL_I2C_Master_Transmit(&hi2c1, 0x31, cs_frame, cs_size);
		HAL_I2C_Master_Transmit(&hi2c2, 0x30, cs_frame, cs_size);
		HAL_I2C_Master_Transmit(&hi2c2, 0x31, cs_frame, cs_size);

		frame[0] = 0x8; frame[1] = 0x00; frame[2] = 0x32;
		frame[3] = 0x0;
		frame[4] = 0x20;
		HAL_I2C_Master_Transmit(&hi2c1, 0x30, cs_frame, cs_size);
		HAL_I2C_Master_Transmit(&hi2c1, 0x31, cs_frame, cs_size);
		HAL_I2C_Master_Transmit(&hi2c2, 0x30, cs_frame, cs_size);
		HAL_I2C_Master_Transmit(&hi2c2, 0x31, cs_frame, cs_size);

		frame[0] = 0x2; frame[1] = 0x00; frame[2] = 0x00;
		frame[3] = 0x0;
		frame[4] = 0xF6 & ~(pcm_dsd << 6) & ~(!pcm_dsd << 5);
		HAL_I2C_Master_Transmit(&hi2c1, 0x30, cs_frame, cs_size);
		HAL_I2C_Master_Transmit(&hi2c1, 0x31, cs_frame, cs_size);
		HAL_I2C_Master_Transmit(&hi2c2, 0x30, cs_frame, cs_size);
		HAL_I2C_Master_Transmit(&hi2c2, 0x31, cs_frame, cs_size);

		frame[0] = 0x2; frame[1] = 0x00; frame[2] = 0x00;
		frame[3] = 0x0;
		frame[4] = 0xE6 & ~(pcm_dsd << 6) & ~(!pcm_dsd << 5);;
		HAL_I2C_Master_Transmit(&hi2c1, 0x30, cs_frame, cs_size);
		HAL_I2C_Master_Transmit(&hi2c1, 0x31, cs_frame, cs_size);
		HAL_I2C_Master_Transmit(&hi2c2, 0x30, cs_frame, cs_size);
		HAL_I2C_Master_Transmit(&hi2c2, 0x31, cs_frame, cs_size);

		frame[0] = 0x8; frame[1] = 0x00; frame[2] = 0x32;
		frame[3] = 0x0;
		frame[4] = 0x0;
		HAL_I2C_Master_Transmit(&hi2c1, 0x30, cs_frame, cs_size);
		HAL_I2C_Master_Transmit(&hi2c1, 0x31, cs_frame, cs_size);
		HAL_I2C_Master_Transmit(&hi2c2, 0x30, cs_frame, cs_size);
		HAL_I2C_Master_Transmit(&hi2c2, 0x31, cs_frame, cs_size);

		frame[0] = 0x1; frame[1] = 0x00; frame[2] = 0x10;
		frame[3] = 0x0;
		frame[4] = 0x99;
		HAL_I2C_Master_Transmit(&hi2c1, 0x30, cs_frame, cs_size);
		HAL_I2C_Master_Transmit(&hi2c1, 0x31, cs_frame, cs_size);
		HAL_I2C_Master_Transmit(&hi2c2, 0x30, cs_frame, cs_size);
		HAL_I2C_Master_Transmit(&hi2c2, 0x31, cs_frame, cs_size);

		break;
	}

  /* USER CODE END 2 */

  /* Infinite loop */
  /* USER CODE BEGIN WHILE */
	uint8_t fir = 1; ak4493eq_fir = fir; dsd1794a_fir = fir; bd34301ekv_fir = fir;

	select_font(&FreeSansOblique9pt7b);
	switch (dacv)
	{
	case AK4493EQ:
	case AK4499EX:
		draw_text(tx_buf, AK4493EQ_FIRS_NAMES[fir], 9, 53, 15);
		break;
	case DSD1794A:
		draw_text(tx_buf, DSD1794A_FIRS_NAMES[fir], 9, 53, 15);
		break;
	case BD34301EKV:
		draw_text(tx_buf, BD34301EKV_FIRS_NAMES[fir], 9, 53, 15);
		break;
	}
	send_buffer_to_OLED(tx_buf, 0, 0);
	HAL_Delay(2000);

	while (1)
	{
		if ((HAL_GetTick() - progtime) > 500)
			if (HAL_GPIO_ReadPin(GPIOA, GPIO_PIN_1))
			{
				select_font(&FreeSansOblique9pt7b);

				switch (dacv)
				{
				case AK4493EQ:
					fir = fir == 5 ? 0 : fir + 1;
					ak4493eq_fir = fir == 5 ? 6 : fir;

					pcm_dsd = HAL_GPIO_ReadPin(GPIOA, GPIO_PIN_11);
					boleroSampleSpeed = (HAL_GPIO_ReadPin(GPIOA, GPIO_PIN_9)) | (HAL_GPIO_ReadPin(GPIOA, GPIO_PIN_8) << 1);
					switch (boleroSampleSpeed)
					{
					case SS_48:
						dfs = 0x0;
						break;
					case SS_96:
						dfs = 0x1;
						break;
					case SS_192:
						dfs = 0x2;
						break;
					case SS_384:
						dfs = 0x4;
						break;
					}

					// Control 2 Reg
					frame[0] = 0x1; frame[1] = 0x3 | ((dfs & 0x3) << 3) | ((ak4493eq_fir & 0x2) << 5);
					HAL_I2C_Master_Transmit(&hi2c1, 0x10, frame, size, I2C_TIMEOUT);
					HAL_I2C_Master_Transmit(&hi2c2, 0x10, frame, size, I2C_TIMEOUT);

					// Control 3 Reg
					frame[0] = 0x2; frame[1] = 0x8 | (ak4493eq_fir & 0x1) | ((!pcm_dsd) << 7);
					HAL_I2C_Master_Transmit(&hi2c1, 0x10, frame, size, I2C_TIMEOUT);
					frame[1] = 0xA | (ak4493eq_fir & 0x1) | ((!pcm_dsd) << 7);
					HAL_I2C_Master_Transmit(&hi2c2, 0x10, frame, size, I2C_TIMEOUT);

					// Control 4 Reg
					frame[0] = 0x5; frame[1] = ((ak4493eq_fir & 0x4) >> 2) | ((dfs & 0x4) >> 1);
					HAL_I2C_Master_Transmit(&hi2c1, 0x10, frame, size, I2C_TIMEOUT);
					HAL_I2C_Master_Transmit(&hi2c2, 0x10, frame, size, I2C_TIMEOUT);

					draw_text(tx_buf, AK4493EQ_FIRS_NAMES[fir], 9, 53, 15);
					break;
					case DSD1794A:
						fir = !fir;
						dsd1794a_fir = fir;

						frame[0] = 0x19; frame[1] = dsd1794a_fir << 1;
						HAL_I2C_Master_Transmit(&hi2c1, 0x4C, frame, size, I2C_TIMEOUT);
						HAL_I2C_Master_Transmit(&hi2c2, 0x4C, frame, size, I2C_TIMEOUT);

						draw_text(tx_buf, DSD1794A_FIRS_NAMES[fir], 9, 53, 15);
						break;
					case BD34301EKV:
						fir = !fir;
						bd34301ekv_fir = fir;

						boleroSampleSpeed = (HAL_GPIO_ReadPin(GPIOA, GPIO_PIN_9)) | (HAL_GPIO_ReadPin(GPIOA, GPIO_PIN_8) << 1);
						switch (boleroSampleSpeed)
						{
						case SS_48:
							frame[1] = bd34301ekv_fir ? 0x3 : 0x0;
							break;
						case SS_96:
							frame[1] = bd34301ekv_fir ? 0x4 : 0x1;
							break;
						case SS_192:
							frame[1] = bd34301ekv_fir ? 0x5 : 0x2;
							break;
						case SS_384:
							frame[1] = 0x0;
							break;
						}
						frame[0] = 0x31;
						HAL_I2C_Master_Transmit(&hi2c1, 0x38, frame, size, I2C_TIMEOUT);
						HAL_I2C_Master_Transmit(&hi2c2, 0x38, frame, size, I2C_TIMEOUT);

						draw_text(tx_buf, BD34301EKV_FIRS_NAMES[fir], 9, 53, 15);
						break;
					case AK4499EX:
						fir = fir == 5 ? 0 : fir + 1;
						ak4493eq_fir = fir == 5 ? 6 : fir;

						// Control 2 Reg: filters
						frame[0] = 0x1; frame[1] = (ak4493eq_fir << 3) | 0x2;
						HAL_I2C_Master_Transmit(&hi2c1, 0x20, frame, size, I2C_TIMEOUT);
						HAL_I2C_Master_Transmit(&hi2c2, 0x20, frame, size, I2C_TIMEOUT);

						draw_text(tx_buf, AK4493EQ_FIRS_NAMES[fir], 9, 53, 15);
						break;
					case CS43198:
						fir = fir == 4 ? 0 : fir + 1;

						uint8_t *cs_frame[5];
						const uint8_t cs_size = 5;

						frame[0] = 0x2; frame[1] = 0x00; frame[2] = 0x52;
						frame[3] = 0x0;
						switch (fir)
						{
						case SharpRollOffLL:
							frame[4] = 0x02;
							break;
						case SharpRollOffPC:
							frame[4] = 0x42;
							break;
						case SlowRollOffLL:
							frame[4] = 0x82;
							break;
						case SlowRollOffPC:
							frame[4] = 0xC2;
							break;
						case NOS:
							frame[4] = 0xE2;
							break;
						}
						HAL_I2C_Master_Transmit(&hi2c1, 0x30, cs_frame, cs_size);
						HAL_I2C_Master_Transmit(&hi2c1, 0x31, cs_frame, cs_size);
						HAL_I2C_Master_Transmit(&hi2c2, 0x30, cs_frame, cs_size);
						HAL_I2C_Master_Transmit(&hi2c2, 0x31, cs_frame, cs_size);

						draw_text(tx_buf, CS43198_FIRS_NAMES[fir], 9, 53, 15);
				}
				send_buffer_to_OLED(tx_buf, 0, 0);
				HAL_Delay(2000);

				progtime = HAL_GetTick();
			}
    /* USER CODE END WHILE */

	}
}

void SystemClock_Config(void)
{
  RCC_OscInitTypeDef RCC_OscInitStruct = {0};
  RCC_ClkInitTypeDef RCC_ClkInitStruct = {0};
  RCC_PeriphCLKInitTypeDef PeriphClkInit = {0};

  /** Initializes the RCC Oscillators according to the specified parameters
  * in the RCC_OscInitTypeDef structure.
  */
  RCC_OscInitStruct.OscillatorType = RCC_OSCILLATORTYPE_HSI;
  RCC_OscInitStruct.HSIState = RCC_HSI_ON;
  RCC_OscInitStruct.HSICalibrationValue = RCC_HSICALIBRATION_DEFAULT;
  RCC_OscInitStruct.PLL.PLLState = RCC_PLL_NONE;
  if (HAL_RCC_OscConfig(&RCC_OscInitStruct) != HAL_OK)
  {
    Error_Handler();
  }
  /** Initializes the CPU, AHB and APB buses clocks
  */
  RCC_ClkInitStruct.ClockType = RCC_CLOCKTYPE_HCLK|RCC_CLOCKTYPE_SYSCLK
                              |RCC_CLOCKTYPE_PCLK1;
  RCC_ClkInitStruct.SYSCLKSource = RCC_SYSCLKSOURCE_HSI;
  RCC_ClkInitStruct.AHBCLKDivider = RCC_SYSCLK_DIV1;
  RCC_ClkInitStruct.APB1CLKDivider = RCC_HCLK_DIV1;

  if (HAL_RCC_ClockConfig(&RCC_ClkInitStruct, FLASH_LATENCY_0) != HAL_OK)
  {
    Error_Handler();
  }
  PeriphClkInit.PeriphClockSelection = RCC_PERIPHCLK_I2C1;
  PeriphClkInit.I2c1ClockSelection = RCC_I2C1CLKSOURCE_HSI;
  if (HAL_RCCEx_PeriphCLKConfig(&PeriphClkInit) != HAL_OK)
  {
    Error_Handler();
  }
}

static void MX_I2C1_Init(void)
{

  hi2c1.Instance = I2C1;
  hi2c1.Init.Timing = 0x0000020B;
  hi2c1.Init.OwnAddress1 = 0;
  hi2c1.Init.AddressingMode = I2C_ADDRESSINGMODE_7BIT;
  hi2c1.Init.DualAddressMode = I2C_DUALADDRESS_DISABLE;
  hi2c1.Init.OwnAddress2 = 0;
  hi2c1.Init.OwnAddress2Masks = I2C_OA2_NOMASK;
  hi2c1.Init.GeneralCallMode = I2C_GENERALCALL_DISABLE;
  hi2c1.Init.NoStretchMode = I2C_NOSTRETCH_DISABLE;
  if (HAL_I2C_Init(&hi2c1) != HAL_OK)
  {
    Error_Handler();
  }
  /** Configure Analogue filter
  */
  if (HAL_I2CEx_ConfigAnalogFilter(&hi2c1, I2C_ANALOGFILTER_ENABLE) != HAL_OK)
  {
    Error_Handler();
  }
  /** Configure Digital filter
  */
  if (HAL_I2CEx_ConfigDigitalFilter(&hi2c1, 0) != HAL_OK)
  {
    Error_Handler();
  }

}

static void MX_I2C2_Init(void)
{

  hi2c2.Instance = I2C2;
  hi2c2.Init.Timing = 0x0000020B;
  hi2c2.Init.OwnAddress1 = 0;
  hi2c2.Init.AddressingMode = I2C_ADDRESSINGMODE_7BIT;
  hi2c2.Init.DualAddressMode = I2C_DUALADDRESS_DISABLE;
  hi2c2.Init.OwnAddress2 = 0;
  hi2c2.Init.OwnAddress2Masks = I2C_OA2_NOMASK;
  hi2c2.Init.GeneralCallMode = I2C_GENERALCALL_DISABLE;
  hi2c2.Init.NoStretchMode = I2C_NOSTRETCH_DISABLE;
  if (HAL_I2C_Init(&hi2c2) != HAL_OK)
  {
    Error_Handler();
  }
  /** Configure Analogue filter
  */
  if (HAL_I2CEx_ConfigAnalogFilter(&hi2c2, I2C_ANALOGFILTER_ENABLE) != HAL_OK)
  {
    Error_Handler();
  }
  /** Configure Digital filter
  */
  if (HAL_I2CEx_ConfigDigitalFilter(&hi2c2, 0) != HAL_OK)
  {
    Error_Handler();
  }

}

static void MX_SPI1_Init(void)
{

  /* SPI1 parameter configuration*/
  hspi1.Instance = SPI1;
  hspi1.Init.Mode = SPI_MODE_MASTER;
  hspi1.Init.Direction = SPI_DIRECTION_2LINES;
  hspi1.Init.DataSize = SPI_DATASIZE_4BIT;
  hspi1.Init.CLKPolarity = SPI_POLARITY_HIGH;
  hspi1.Init.CLKPhase = SPI_PHASE_2EDGE;
  hspi1.Init.NSS = SPI_NSS_SOFT;
  hspi1.Init.BaudRatePrescaler = SPI_BAUDRATEPRESCALER_2;
  hspi1.Init.FirstBit = SPI_FIRSTBIT_MSB;
  hspi1.Init.TIMode = SPI_TIMODE_DISABLE;
  hspi1.Init.CRCCalculation = SPI_CRCCALCULATION_DISABLE;
  hspi1.Init.CRCPolynomial = 7;
  hspi1.Init.CRCLength = SPI_CRC_LENGTH_DATASIZE;
  hspi1.Init.NSSPMode = SPI_NSS_PULSE_DISABLE;
  if (HAL_SPI_Init(&hspi1) != HAL_OK)
  {
    Error_Handler();
  }

}

static void MX_USART2_UART_Init(void)
{

  huart2.Instance = USART2;
  huart2.Init.BaudRate = 115200;
  huart2.Init.WordLength = UART_WORDLENGTH_8B;
  huart2.Init.StopBits = UART_STOPBITS_1;
  huart2.Init.Parity = UART_PARITY_NONE;
  huart2.Init.Mode = UART_MODE_TX_RX;
  huart2.Init.HwFlowCtl = UART_HWCONTROL_NONE;
  huart2.Init.OverSampling = UART_OVERSAMPLING_16;
  huart2.Init.OneBitSampling = UART_ONE_BIT_SAMPLE_DISABLE;
  huart2.AdvancedInit.AdvFeatureInit = UART_ADVFEATURE_NO_INIT;
  if (HAL_UART_Init(&huart2) != HAL_OK)
  {
    Error_Handler();
  }

}

static void MX_GPIO_Init(void)
{
  GPIO_InitTypeDef GPIO_InitStruct = {0};

  /* GPIO Ports Clock Enable */
  __HAL_RCC_GPIOA_CLK_ENABLE();
  __HAL_RCC_GPIOB_CLK_ENABLE();

  /*Configure GPIO pin Output Level */
  HAL_GPIO_WritePin(GPIOA, SPI1_RESET_Pin|SPI1_CS_Pin|SPI1_DC_Pin, GPIO_PIN_RESET);

  /*Configure GPIO pin Output Level */
  HAL_GPIO_WritePin(GPIOB, Y1_Pin|Y2_Pin, GPIO_PIN_SET);

  /*Configure GPIO pin Output Level */
  HAL_GPIO_WritePin(GPIOB, SMUTE_Pin|DAC_RESET_Pin, GPIO_PIN_RESET);

  /*Configure GPIO pins : ENC_CH_A_Pin ENC_CH_B_Pin */
  GPIO_InitStruct.Pin = ENC_CH_A_Pin|ENC_CH_B_Pin;
  GPIO_InitStruct.Mode = GPIO_MODE_IT_RISING;
  GPIO_InitStruct.Pull = GPIO_NOPULL;
  HAL_GPIO_Init(GPIOA, &GPIO_InitStruct);

  /*Configure GPIO pin : ENC_BUT_Pin */
  GPIO_InitStruct.Pin = ENC_BUT_Pin;
  GPIO_InitStruct.Mode = GPIO_MODE_INPUT;
  GPIO_InitStruct.Pull = GPIO_PULLDOWN;
  HAL_GPIO_Init(ENC_BUT_GPIO_Port, &GPIO_InitStruct);

  /*Configure GPIO pins : SPI1_RESET_Pin SPI1_CS_Pin SPI1_DC_Pin */
  GPIO_InitStruct.Pin = SPI1_RESET_Pin|SPI1_CS_Pin|SPI1_DC_Pin;
  GPIO_InitStruct.Mode = GPIO_MODE_OUTPUT_PP;
  GPIO_InitStruct.Pull = GPIO_NOPULL;
  GPIO_InitStruct.Speed = GPIO_SPEED_FREQ_HIGH;
  HAL_GPIO_Init(GPIOA, &GPIO_InitStruct);

  /*Configure GPIO pins : DACV0_Pin DACV1_Pin DACV2_Pin DACV3_Pin */
  GPIO_InitStruct.Pin = DACV0_Pin|DACV1_Pin|DACV2_Pin|DACV3_Pin;
  GPIO_InitStruct.Mode = GPIO_MODE_INPUT;
  GPIO_InitStruct.Pull = GPIO_PULLDOWN;
  HAL_GPIO_Init(GPIOB, &GPIO_InitStruct);

  /*Configure GPIO pins : BLOERO_MUX1_Pin BOLERO_MUX0_Pin BOLERO_Y1_Y2_Pin BOLERO_PCM_DSD_Pin
                           BOLERO_DAC_RESET_Pin */
  GPIO_InitStruct.Pin = BLOERO_MUX1_Pin|BOLERO_MUX0_Pin|BOLERO_Y1_Y2_Pin|BOLERO_PCM_DSD_Pin
                          |BOLERO_DAC_RESET_Pin;
  GPIO_InitStruct.Mode = GPIO_MODE_IT_RISING_FALLING;
  GPIO_InitStruct.Pull = GPIO_PULLDOWN;
  HAL_GPIO_Init(GPIOA, &GPIO_InitStruct);

  /*Configure GPIO pins : Y1_Pin Y2_Pin SMUTE_Pin DAC_RESET_Pin */
  GPIO_InitStruct.Pin = Y1_Pin|Y2_Pin|SMUTE_Pin|DAC_RESET_Pin;
  GPIO_InitStruct.Mode = GPIO_MODE_OUTPUT_PP;
  GPIO_InitStruct.Pull = GPIO_NOPULL;
  GPIO_InitStruct.Speed = GPIO_SPEED_FREQ_LOW;
  HAL_GPIO_Init(GPIOB, &GPIO_InitStruct);

  /* EXTI interrupt init*/
  HAL_NVIC_SetPriority(EXTI0_1_IRQn, 0, 0);
  HAL_NVIC_EnableIRQ(EXTI0_1_IRQn);

  HAL_NVIC_SetPriority(EXTI2_3_IRQn, 0, 0);
  HAL_NVIC_EnableIRQ(EXTI2_3_IRQn);

  HAL_NVIC_SetPriority(EXTI4_15_IRQn, 0, 0);
  HAL_NVIC_EnableIRQ(EXTI4_15_IRQn);

}

/* USER CODE BEGIN 4 */
void Set_Clock(uint8_t clock)
{
	switch (clock)
	{
	case C_44_1:
		HAL_GPIO_WritePin(GPIOB, GPIO_PIN_4, 0);
		HAL_GPIO_WritePin(GPIOB, GPIO_PIN_3, 1);
		break;
	case C_48:
		HAL_GPIO_WritePin(GPIOB, GPIO_PIN_3, 0);
		HAL_GPIO_WritePin(GPIOB, GPIO_PIN_4, 1);
		break;
	}
}
/* USER CODE END 4 */

void Error_Handler(void)
{
	__disable_irq();
	while (1)
	{
	}
}

/************************ (C) COPYRIGHT STMicroelectronics *****END OF FILE****/
